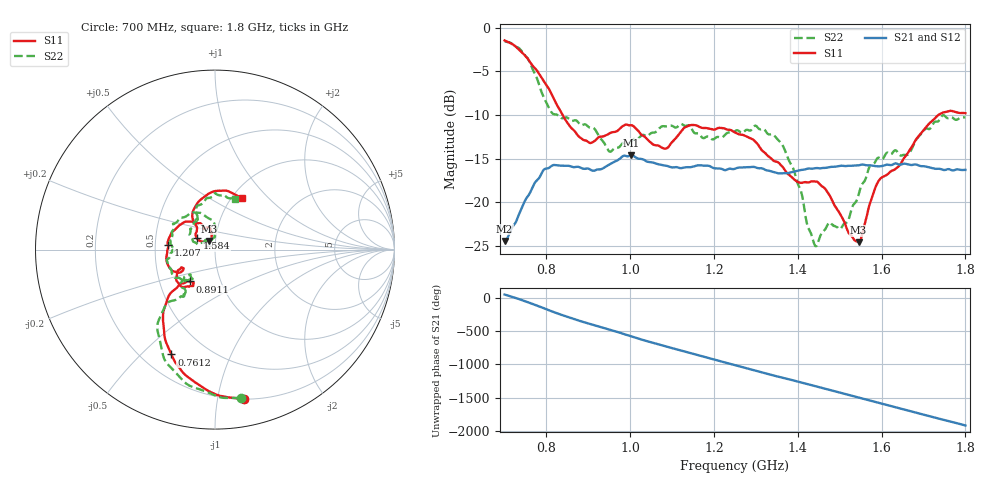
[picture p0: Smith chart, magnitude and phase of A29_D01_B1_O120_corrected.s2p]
! Created with skrf 1.9.0 (http://scikit-rf.org).
# Hz S RI R 50.0
!freq ReS11 ImS11 ReS21 ImS21 ReS12 ImS12 ReS22 ImS22
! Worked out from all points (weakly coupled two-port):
!   1601 points, 700 MHz to 1.8 GHz, reference 50 ohm
!   highest |S21| = -14.63 dB at 1.002 GHz (marker M1); lowest = -24.5 dB at 700 MHz (marker M2)
!   lowest |S11| = -24.6 dB at 1.545 GHz (marker M3), VSWR 1.13, Z = 46.4 + j4.42 ohm
!   |S11| at or under -10 dB: 838.6 MHz to 1.735 GHz (896.6 MHz wide, 69.7 % of centre)
!   |S22| runs from -25.1 to -1.5 dB; largest |S21 - S12| = 0.0036
!   S11 on the Smith chart (normalised r, x): 700 MHz: 0.20, -1.19; 761.2 MHz: 0.32, -0.62; 891.1 MHz: 0.71, -0.27; 1.207 GHz: 0.58, +0.03; 1.584 GHz: 0.81, +0.10; 1.8 GHz: 1.11, +0.71
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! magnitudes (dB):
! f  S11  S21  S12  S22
! 700 MHz  -1.4  -24.5  -24.2  -1.5
! 761.2 MHz  -4.0  -18.9  -18.8  -4.1
! 812.8 MHz  -7.7  -15.8  -15.8  -9.7
! 883.6 MHz  -12.7  -16.1  -16.0  -11.2
! 891.1 MHz  -12.9  -16.2  -16.2  -11.1
! 950.9 MHz  -12.1  -15.7  -15.7  -14.2
! 1.002 GHz  -11.2  -14.6  -14.7  -13.0
! 1.067 GHz  -13.5  -15.6  -15.6  -11.6
! 1.141 GHz  -11.2  -16.0  -16.0  -11.2
! 1.207 GHz  -11.6  -16.1  -16.2  -12.5
! 1.25 GHz  -12.0  -16.2  -16.1  -11.8
! 1.3 GHz  -13.1  -16.0  -16.0  -11.2
! 1.36 GHz  -15.8  -16.7  -16.7  -13.2
! 1.406 GHz  -17.8  -16.3  -16.3  -18.6
! 1.434 GHz  -17.6  -16.2  -16.1  -23.9
! 1.504 GHz  -21.6  -15.8  -15.8  -23.0
! 1.545 GHz  -24.6  -15.8  -15.7  -19.2
! 1.584 GHz  -18.4  -15.9  -15.9  -15.4
! 1.617 GHz  -16.7  -15.7  -15.7  -14.4
! 1.663 GHz  -14.3  -15.7  -15.7  -14.5
! 1.735 GHz  -10.0  -16.2  -16.2  -10.7
! 1.8 GHz  -9.8  -16.3  -16.3  -10.3
